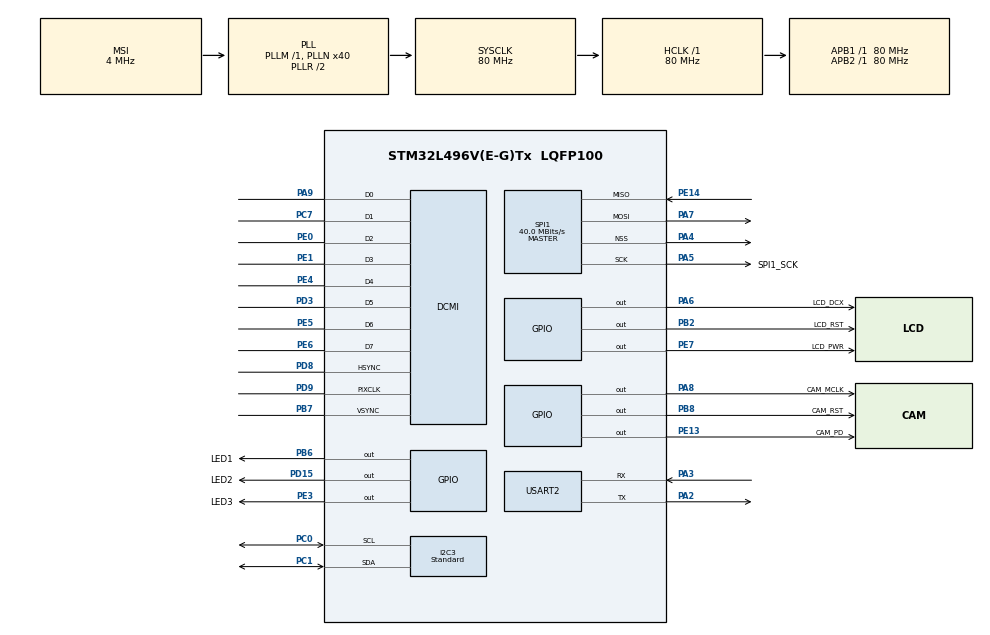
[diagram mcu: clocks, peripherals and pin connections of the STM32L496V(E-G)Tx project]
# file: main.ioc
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DCMI.PCKPolarity=DCMI_PCKPOLARITY_RISING
Dma.DCMI.0.Direction=DMA_PERIPH_TO_MEMORY
Dma.DCMI.0.Instance=DMA2_Channel6
Dma.DCMI.0.MemDataAlignment=DMA_MDATAALIGN_WORD
Dma.DCMI.0.MemInc=DMA_MINC_ENABLE
Dma.DCMI.0.Mode=DMA_NORMAL
Dma.DCMI.0.PeriphDataAlignment=DMA_PDATAALIGN_WORD
Dma.DCMI.0.PeriphInc=DMA_PINC_DISABLE
Dma.DCMI.0.Priority=DMA_PRIORITY_LOW
Dma.Request0=DCMI
I2C3.Analog_Filter=I2C_ANALOGFILTER_DISABLE
I2C3.I2C_Speed_Mode=I2C_Standard
I2C3.OwnAddress=0
I2C3.Timing=0x10909EEE
Mcu.Family=STM32L4
Mcu.Name=STM32L496V(E-G)Tx
Mcu.Package=LQFP100
NVIC.DCMI_IRQn=true\:0\:0\:false\:false\:true\:true\:true
NVIC.DMA2_Channel6_IRQn=true\:0\:0\:false\:false\:true\:false\:true
NVIC.PriorityGroup=NVIC_PRIORITYGROUP_4
PA13\ (JTMS/SWDIO).Mode=Serial_Wire
PA13\ (JTMS/SWDIO).Signal=SYS_JTMS-SWDIO
PA14\ (JTCK/SWCLK).Mode=Serial_Wire
PA14\ (JTCK/SWCLK).Signal=SYS_JTCK-SWCLK
PA2.Mode=Asynchronous
PA2.Signal=USART2_TX
PA3.Mode=Asynchronous
PA3.Signal=USART2_RX
PA4.Mode=NSS_Signal_Hard_Output
PA4.Signal=SPI1_NSS
PA5.GPIO_Label=SPI1_SCK
PA5.Mode=Full_Duplex_Master
PA5.Signal=SPI1_SCK
PA6.GPIO_Label=LCD_DCX
PA6.GPIO_Speed=GPIO_SPEED_FREQ_VERY_HIGH
PA6.PinState=GPIO_PIN_SET
PA6.Signal=GPIO_Output
PA7.Mode=Full_Duplex_Master
PA7.Signal=SPI1_MOSI
PA8.GPIO_Label=CAM_MCLK
PA8.GPIO_Speed=GPIO_SPEED_FREQ_VERY_HIGH
PA8.PinState=GPIO_PIN_SET
PA8.Signal=GPIO_Output
PA9.GPIO_Speed=GPIO_SPEED_FREQ_VERY_HIGH
PA9.Mode=Slave_8_bits_External_Synchro
PA9.Signal=DCMI_D0
PB2.GPIO_Label=LCD_RST
PB2.GPIO_Speed=GPIO_SPEED_FREQ_VERY_HIGH
PB2.PinState=GPIO_PIN_SET
PB2.Signal=GPIO_Output
PB6.GPIO_FM6=__NULL
PB6.GPIO_Label=LED1
PB6.GPIO_Speed=GPIO_SPEED_FREQ_VERY_HIGH
PB6.PinState=GPIO_PIN_SET
PB6.Signal=GPIO_Output
PB7.GPIO_FM7=__NULL
PB7.GPIO_Speed=GPIO_SPEED_FREQ_VERY_HIGH
PB7.Mode=Slave_8_bits_External_Synchro
PB7.Signal=DCMI_VSYNC
PB8.GPIO_Label=CAM_RST
PB8.GPIO_Speed=GPIO_SPEED_FREQ_VERY_HIGH
PB8.PinState=GPIO_PIN_SET
PB8.Signal=GPIO_Output
PC0.Mode=I2C
PC0.Signal=I2C3_SCL
PC1.Mode=I2C
PC1.Signal=I2C3_SDA
PC7.GPIO_Speed=GPIO_SPEED_FREQ_VERY_HIGH
PC7.Mode=Slave_8_bits_External_Synchro
PC7.Signal=DCMI_D1
PD15.GPIO_Label=LED2
PD15.GPIO_Speed=GPIO_SPEED_FREQ_VERY_HIGH
PD15.Signal=GPIO_Output
PD3.GPIO_Speed=GPIO_SPEED_FREQ_VERY_HIGH
PD3.Mode=Slave_8_bits_External_Synchro
PD3.Signal=DCMI_D5
PD8.GPIO_Speed=GPIO_SPEED_FREQ_VERY_HIGH
PD8.Mode=Slave_8_bits_External_Synchro
PD8.Signal=DCMI_HSYNC
PD9.GPIO_Speed=GPIO_SPEED_FREQ_VERY_HIGH
PD9.Mode=Slave_8_bits_External_Synchro
PD9.Signal=DCMI_PIXCLK
PE0.GPIO_Speed=GPIO_SPEED_FREQ_VERY_HIGH
PE0.Mode=Slave_8_bits_External_Synchro
PE0.Signal=DCMI_D2
PE1.GPIO_Speed=GPIO_SPEED_FREQ_VERY_HIGH
PE1.Mode=Slave_8_bits_External_Synchro
PE1.Signal=DCMI_D3
PE13.GPIO_Label=CAM_PD
PE13.GPIO_Speed=GPIO_SPEED_FREQ_VERY_HIGH
PE13.PinState=GPIO_PIN_SET
PE13.Signal=GPIO_Output
PE14.Mode=Full_Duplex_Master
PE14.Signal=SPI1_MISO
PE3.GPIO_Label=LED3
PE3.GPIO_Speed=GPIO_SPEED_FREQ_VERY_HIGH
PE3.Signal=GPIO_Output
PE4.GPIO_Speed=GPIO_SPEED_FREQ_VERY_HIGH
PE4.Mode=Slave_8_bits_External_Synchro
PE4.Signal=DCMI_D4
PE5.GPIO_Speed=GPIO_SPEED_FREQ_VERY_HIGH
PE5.Mode=Slave_8_bits_External_Synchro
PE5.Signal=DCMI_D6
PE6.GPIO_Speed=GPIO_SPEED_FREQ_VERY_HIGH
PE6.Mode=Slave_8_bits_External_Synchro
PE6.Signal=DCMI_D7
PE7.GPIO_Label=LCD_PWR
PE7.GPIO_Speed=GPIO_SPEED_FREQ_VERY_HIGH
PE7.PinState=GPIO_PIN_RESET
PE7.Signal=GPIO_Output
PH0-OSC_IN\ (PH0).Mode=HSE-External-Oscillator
PH0-OSC_IN\ (PH0).Signal=RCC_OSC_IN
PH1-OSC_OUT\ (PH1).Mode=HSE-External-Oscillator
PH1-OSC_OUT\ (PH1).Signal=RCC_OSC_OUT
ProjectManager.HeapSize=0x200
ProjectManager.StackSize=0x400
ProjectManager.TargetToolchain=MDK-ARM V5
RCC.ADCFreq_Value=16000000
RCC.AHBFreq_Value=80000000
RCC.APB1Freq_Value=80000000
RCC.APB1TimFreq_Value=80000000
RCC.APB2Freq_Value=80000000
RCC.APB2TimFreq_Value=80000000
RCC.CortexFreq_Value=80000000
RCC.HCLKFreq_Value=80000000
RCC.HSE_VALUE=8000000
RCC.HSI48_VALUE=48000000
RCC.HSI_VALUE=16000000
RCC.LSE_VALUE=32768
RCC.MSI_VALUE=4000000
RCC.PLLN=40
RCC.SYSCLKFreq_VALUE=80000000
RCC.SYSCLKSource=RCC_SYSCLKSOURCE_PLLCLK
RCC.USBFreq_Value=16000000
RCC.VCOOutputFreq_Value=160000000
SPI1.BaudRatePrescaler=SPI_BAUDRATEPRESCALER_2
SPI1.CalculateBaudRate=40.0 MBits/s
SPI1.DataSize=SPI_DATASIZE_8BIT
SPI1.Direction=SPI_DIRECTION_2LINES
SPI1.Mode=SPI_MODE_MASTER
SPI1.VirtualNSS=VM_NSSHARD
SPI1.VirtualType=VM_MASTER
USART2.VirtualMode-Asynchronous=VM_ASYNC
board=custom

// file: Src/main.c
/* USER CODE BEGIN Header */
/**
  ******************************************************************************
  * @file           : main.c
  * @brief          : Main program body
  ******************************************************************************
  * @attention
  *
  * <h2><center>&copy; Copyright (c) 2019 STMicroelectronics.
  * All rights reserved.</center></h2>
  *
  * This software component is licensed by ST under BSD 3-Clause license,
  * the "License"; You may not use this file except in compliance with the
  * License. You may obtain a copy of the License at:
  *                        opensource.org/licenses/BSD-3-Clause
  *
  ******************************************************************************
  */
/* USER CODE END Header */

#include "main.h"
#include "dcmi.h"
#include "dma.h"
#include "i2c.h"
#include "spi.h"
#include "usart.h"
#include "gpio.h"

/* USER CODE BEGIN Includes */
#include <stdio.h>
#include "ST7789.h"
#include "GC0329.h"
/* USER CODE END Includes */

void SystemClock_Config(void);

/* USER CODE BEGIN 0 */
uint16_t pBuffer[ST7789_WIDTH * ST7789_HEIGHT];
uint8_t pBuffer_t[3 * ST7789_WIDTH];

/* USER CODE BEGIN 0 */

//定义printf的重定向函数fputc，满足串口调试打印
int fputc(int ch, FILE* file)
{
    return HAL_UART_Transmit(&huart2, (uint8_t*)&ch, 1, 100);
}

/* USER CODE END 0 */

int main(void)
{

  /* MCU Configuration--------------------------------------------------------*/

  /* Reset of all peripherals, Initializes the Flash interface and the Systick. */
  HAL_Init();

  /* Configure the system clock */
  SystemClock_Config();

  /* Initialize all configured peripherals */
  MX_GPIO_Init();
  MX_DMA_Init();
  MX_SPI1_Init();
  MX_DCMI_Init();
  MX_I2C3_Init();
  MX_USART2_UART_Init();
  /* USER CODE BEGIN 2 */
  printf("Hello AliosThings IOT develop Kit\n");
    HAL_GPIO_WritePin(LED1_GPIO_Port, LED1_Pin, GPIO_PIN_SET);
    HAL_GPIO_WritePin(LED2_GPIO_Port, LED2_Pin, GPIO_PIN_SET);
    HAL_GPIO_WritePin(LED3_GPIO_Port, LED3_Pin, GPIO_PIN_SET);
    st7789_init();
    enable_camera_display(1);
    CameraDEMO_Init(pBuffer, sizeof(pBuffer));
  /* USER CODE END 2 */

  /* Infinite loop */
    while (1)
    {

    /* USER CODE BEGIN 3 */
         HAL_GPIO_TogglePin(LED1_GPIO_Port, LED1_Pin);
        HAL_GPIO_TogglePin(LED2_GPIO_Port, LED2_Pin);
        HAL_GPIO_TogglePin(LED3_GPIO_Port, LED3_Pin);
        HAL_Delay(300);
    }

  /* USER CODE END 3 */
}
#if 0
void SystemClock_Config(void)
{
  RCC_OscInitTypeDef RCC_OscInitStruct = {0};
  RCC_ClkInitTypeDef RCC_ClkInitStruct = {0};
  RCC_PeriphCLKInitTypeDef PeriphClkInit = {0};

  /** Initializes the CPU, AHB and APB busses clocks
  */
  RCC_OscInitStruct.OscillatorType = RCC_OSCILLATORTYPE_MSI;
  RCC_OscInitStruct.MSIState = RCC_MSI_ON;
  RCC_OscInitStruct.MSICalibrationValue = 0;
  RCC_OscInitStruct.MSIClockRange = RCC_MSIRANGE_6;
  RCC_OscInitStruct.PLL.PLLState = RCC_PLL_ON;
  RCC_OscInitStruct.PLL.PLLSource = RCC_PLLSOURCE_MSI;
  RCC_OscInitStruct.PLL.PLLM = 1;
  RCC_OscInitStruct.PLL.PLLN = 40;
  RCC_OscInitStruct.PLL.PLLP = RCC_PLLP_DIV2;
  RCC_OscInitStruct.PLL.PLLQ = RCC_PLLQ_DIV2;
  RCC_OscInitStruct.PLL.PLLR = RCC_PLLR_DIV2;
  if (HAL_RCC_OscConfig(&RCC_OscInitStruct) != HAL_OK)
  {
    Error_Handler();
  }
  /** Initializes the CPU, AHB and APB busses clocks
  */
  RCC_ClkInitStruct.ClockType = RCC_CLOCKTYPE_HCLK|RCC_CLOCKTYPE_SYSCLK
                              |RCC_CLOCKTYPE_PCLK1|RCC_CLOCKTYPE_PCLK2;
  RCC_ClkInitStruct.SYSCLKSource = RCC_SYSCLKSOURCE_PLLCLK;
  RCC_ClkInitStruct.AHBCLKDivider = RCC_SYSCLK_DIV1;
  RCC_ClkInitStruct.APB1CLKDivider = RCC_HCLK_DIV1;
  RCC_ClkInitStruct.APB2CLKDivider = RCC_HCLK_DIV1;

  if (HAL_RCC_ClockConfig(&RCC_ClkInitStruct, FLASH_LATENCY_4) != HAL_OK)
  {
    Error_Handler();
  }
  PeriphClkInit.PeriphClockSelection = RCC_PERIPHCLK_USART2|RCC_PERIPHCLK_I2C3;
  PeriphClkInit.Usart2ClockSelection = RCC_USART2CLKSOURCE_PCLK1;
  PeriphClkInit.I2c3ClockSelection = RCC_I2C3CLKSOURCE_PCLK1;
  if (HAL_RCCEx_PeriphCLKConfig(&PeriphClkInit) != HAL_OK)
  {
    Error_Handler();
  }
  /** Configure the main internal regulator output voltage
  */
  if (HAL_PWREx_ControlVoltageScaling(PWR_REGULATOR_VOLTAGE_SCALE1) != HAL_OK)
  {
    Error_Handler();
  }
}
#endif
void SystemClock_Config(void)
{

  RCC_OscInitTypeDef RCC_OscInitStruct;
  RCC_ClkInitTypeDef RCC_ClkInitStruct;
  RCC_PeriphCLKInitTypeDef PeriphClkInit;

    /**Configure LSE Drive Capability
    */
  HAL_PWR_EnableBkUpAccess();

  __HAL_RCC_LSEDRIVE_CONFIG(RCC_LSEDRIVE_LOW);

    /**Initializes the CPU, AHB and APB busses clocks
    */
  RCC_OscInitStruct.OscillatorType = RCC_OSCILLATORTYPE_HSI48|RCC_OSCILLATORTYPE_LSE
                              |RCC_OSCILLATORTYPE_MSI;
  RCC_OscInitStruct.LSEState = RCC_LSE_ON;
  RCC_OscInitStruct.HSI48State = RCC_HSI48_ON;
  RCC_OscInitStruct.MSIState = RCC_MSI_ON;
  RCC_OscInitStruct.MSICalibrationValue = 0;
  RCC_OscInitStruct.MSIClockRange = RCC_MSIRANGE_6;
  RCC_OscInitStruct.PLL.PLLState = RCC_PLL_ON;
  RCC_OscInitStruct.PLL.PLLSource = RCC_PLLSOURCE_MSI;
  RCC_OscInitStruct.PLL.PLLM = 1;
  RCC_OscInitStruct.PLL.PLLN = 40;
  RCC_OscInitStruct.PLL.PLLP = RCC_PLLP_DIV2;
  RCC_OscInitStruct.PLL.PLLQ = RCC_PLLQ_DIV2;
  RCC_OscInitStruct.PLL.PLLR = RCC_PLLR_DIV2;
  if (HAL_RCC_OscConfig(&RCC_OscInitStruct) != HAL_OK)
  {
  //  _Error_Handler(__FILE__, __LINE__);
  }

    /**Initializes the CPU, AHB and APB busses clocks
    */
  RCC_ClkInitStruct.ClockType = RCC_CLOCKTYPE_HCLK|RCC_CLOCKTYPE_SYSCLK
                              |RCC_CLOCKTYPE_PCLK1|RCC_CLOCKTYPE_PCLK2;
  RCC_ClkInitStruct.SYSCLKSource = RCC_SYSCLKSOURCE_PLLCLK;
  RCC_ClkInitStruct.AHBCLKDivider = RCC_SYSCLK_DIV1;
  RCC_ClkInitStruct.APB1CLKDivider = RCC_HCLK_DIV1;
  RCC_ClkInitStruct.APB2CLKDivider = RCC_HCLK_DIV1;

  if (HAL_RCC_ClockConfig(&RCC_ClkInitStruct, FLASH_LATENCY_4) != HAL_OK)
  {
  //  _Error_Handler(__FILE__, __LINE__);
  }

  PeriphClkInit.PeriphClockSelection = RCC_PERIPHCLK_USART2|RCC_PERIPHCLK_USART3
                              |RCC_PERIPHCLK_LPUART1|RCC_PERIPHCLK_SAI2
                              |RCC_PERIPHCLK_I2C2|RCC_PERIPHCLK_I2C3
                              |RCC_PERIPHCLK_I2C4|RCC_PERIPHCLK_USB
                              |RCC_PERIPHCLK_SDMMC1|RCC_PERIPHCLK_ADC;
  PeriphClkInit.Usart2ClockSelection = RCC_USART2CLKSOURCE_PCLK1;
  PeriphClkInit.Usart3ClockSelection = RCC_USART3CLKSOURCE_PCLK1;
  PeriphClkInit.Lpuart1ClockSelection = RCC_LPUART1CLKSOURCE_PCLK1;
  PeriphClkInit.I2c2ClockSelection = RCC_I2C2CLKSOURCE_PCLK1;
  PeriphClkInit.I2c3ClockSelection = RCC_I2C3CLKSOURCE_PCLK1;
  PeriphClkInit.I2c4ClockSelection = RCC_I2C4CLKSOURCE_PCLK1;
  PeriphClkInit.Sai2ClockSelection = RCC_SAI2CLKSOURCE_PLLSAI1;
  PeriphClkInit.AdcClockSelection = RCC_ADCCLKSOURCE_PLLSAI1;
  PeriphClkInit.UsbClockSelection = RCC_USBCLKSOURCE_PLLSAI1;
  PeriphClkInit.Sdmmc1ClockSelection = RCC_SDMMC1CLKSOURCE_PLLSAI1;
  PeriphClkInit.PLLSAI1.PLLSAI1Source = RCC_PLLSOURCE_MSI;
  PeriphClkInit.PLLSAI1.PLLSAI1M = 1;
  PeriphClkInit.PLLSAI1.PLLSAI1N = 24;
  PeriphClkInit.PLLSAI1.PLLSAI1P = RCC_PLLP_DIV2;
  PeriphClkInit.PLLSAI1.PLLSAI1Q = RCC_PLLQ_DIV2;
  PeriphClkInit.PLLSAI1.PLLSAI1R = RCC_PLLR_DIV2;
  PeriphClkInit.PLLSAI1.PLLSAI1ClockOut = RCC_PLLSAI1_SAI1CLK|RCC_PLLSAI1_48M2CLK
                              |RCC_PLLSAI1_ADC1CLK;
  if (HAL_RCCEx_PeriphCLKConfig(&PeriphClkInit) != HAL_OK)
  {
  //  _Error_Handler(__FILE__, __LINE__);
  }

  HAL_RCC_MCOConfig(RCC_MCO1, RCC_MCO1SOURCE_HSI48, RCC_MCODIV_2);

    /**Configure the main internal regulator output voltage
    */
  if (HAL_PWREx_ControlVoltageScaling(PWR_REGULATOR_VOLTAGE_SCALE1) != HAL_OK)
  {
   // _Error_Handler(__FILE__, __LINE__);
  }

    /**Configure the Systick interrupt time
    */
  HAL_SYSTICK_Config(HAL_RCC_GetHCLKFreq()/8000);

    /**Configure the Systick
    */
  HAL_SYSTICK_CLKSourceConfig(SYSTICK_CLKSOURCE_HCLK_DIV8);

    /**Enable MSI Auto calibration
    */
  HAL_RCCEx_EnableMSIPLLMode();

  /* SysTick_IRQn interrupt configuration */
  HAL_NVIC_SetPriority(SysTick_IRQn, 0, 0);
}

void Error_Handler(void)
{
}

/************************ (C) COPYRIGHT STMicroelectronics *****END OF FILE****/
